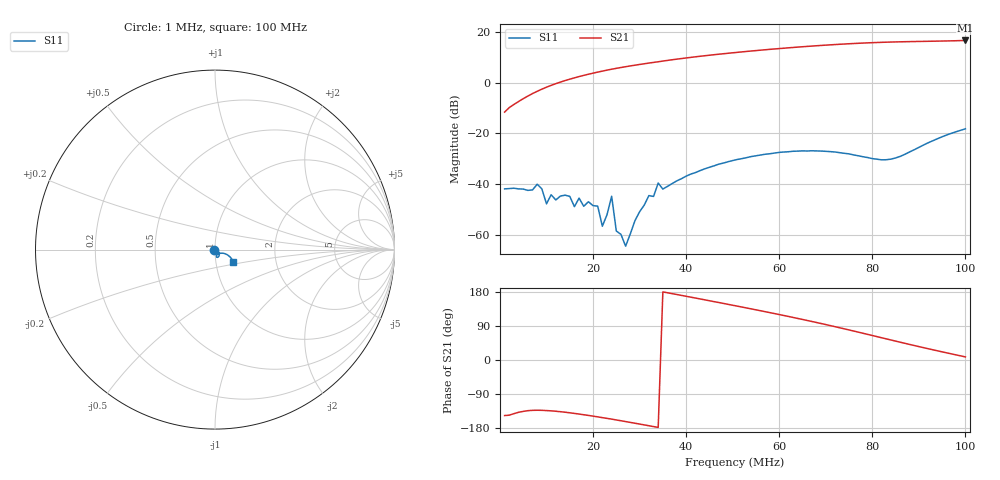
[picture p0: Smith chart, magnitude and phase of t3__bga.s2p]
# HZ S RI R 50
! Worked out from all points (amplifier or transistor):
!   100 points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, 1 MHz to 100 MHz, reference 50 ohm
!   highest |S21| = 16.7 dB at 100 MHz (marker M1)
!   |S21| within 3 dB of that: 61.39 MHz to end of sweep
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1000001  -0.00805 0.000169  -0.2204 -0.1453  0 0  0 0
8000001  -0.00993 0.000536  -0.4598 -0.5  0 0  0 0
1e7  -0.00394 0.00106  -0.5625 -0.5941  0 0  0 0
1.4e7  -0.00601 0.000686  -0.8191 -0.7428  0 0  0 0
1.8e7  -0.0035 0.00103  -1.138 -0.8134  0 0  0 0
2.1e7  -0.00363 0.000606  -1.407 -0.8105  0 0  0 0
2.2e7  -0.00125 0.000783  -1.501 -0.7942  0 0  0 0
2.4e7  -0.005 -0.00289  -1.692 -0.7546  0 0  0 0
2.5e7  -0.00115 0.000276  -1.79 -0.7153  0 0  0 0
2.7e7  0.000534 0.000265  -1.98 -0.6249  0 0  0 0
2.9e7  0.0019 6.5e-05  -2.166 -0.5059  0 0  0 0
3.4e7  0.00735 -0.00749  -2.596 -0.0977  0 0  0 0
4.3e7  0.0165 -0.00844  -3.156 1.078  0 0  0 0
5.1e7  0.023 -0.0202  -3.147 2.449  0 0  0 0
5.9e7  0.0226 -0.0342  -2.495 3.923  0 0  0 0
6.7e7  0.0149 -0.043  -1.074 5.189  0 0  0 0
7.2e7  0.00958 -0.042  0.208 5.676  0 0  0 0
7.6e7  0.00786 -0.0369  1.398 5.788  0 0  0 0
8e7  0.011 -0.03  2.649 5.594  0 0  0 0
8.4e7  0.0209 -0.0231  3.849 5.071  0 0  0 0
9.2e7  0.0605 -0.0249  5.718 3.269  0 0  0 0
1e8  0.1025 -0.0687  6.773 0.976  0 0  0 0
